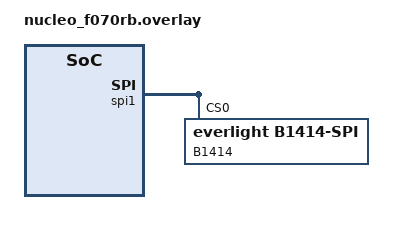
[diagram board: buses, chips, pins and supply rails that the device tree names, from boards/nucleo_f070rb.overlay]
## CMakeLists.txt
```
# SPDX-License-Identifier: Apache-2.0

cmake_minimum_required(VERSION 3.13.1)

find_package(Zephyr REQUIRED HINTS $ENV{ZEPHYR_BASE})
project(led_b1414)

FILE(GLOB app_sources src/*.c)
target_sources(app PRIVATE ${app_sources})
```

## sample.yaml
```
sample:
  description: Demonstration of the B1414 IC LED driver
  name: B1414 IC sample
tests:
  sample.drivers.led.b1414:
    platform_allow: nucleo_f070rb
    tags: LED
```

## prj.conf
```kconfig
CONFIG_SPI=y
CONFIG_LED_STRIP=y
CONFIG_LED_STRIP_LOG_LEVEL_DBG=y
CONFIG_B1414_STRIP=y
CONFIG_B1414_STRIP_SPI=y
CONFIG_LOG=y
```

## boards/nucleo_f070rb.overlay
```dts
/*
 * Copyright (c) 2019, Nordic Semiconductor ASA
 *
 * SPDX-License-Identifier: Apache-2.0
 */

#include "../f070rb-bindings.h"

&spi1 { /* MOSI on PA7 */
	led_strip: b1414@0 {
		compatible = "everlight,b1414-spi";
		label = "B1414";

		/* SPI */
		reg = <0>; /* ignored, but necessary for SPI bindings */
		spi-max-frequency = <SPI_FREQ>;

		/* B1414 */
		chain-length = <18>; /* arbitrary; change at will */
		spi-one-frame = <ONE_FRAME>;
		spi-zero-frame = <ZERO_FRAME>;

		status = "okay";
	};
};

/ {
	aliases {
		led-strip = &led_strip;
	};
};
```

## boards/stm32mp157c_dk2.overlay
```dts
/*
 * Copyright (c) 2019, Nordic Semiconductor ASA
 *
 * SPDX-License-Identifier: Apache-2.0
 */

#include "../stm32mp157-bindings.h"

&spi4 { /* MOSI on ? */
	led_strip: b1414@0 {
		compatible = "everlight,b1414-spi";
		label = "B1414";

		/* SPI */
		reg = <0>; /* ignored, but necessary for SPI bindings */
		spi-max-frequency = <SPI_FREQ>;

		/* B1414 */
		chain-length = <18>; /* arbitrary; change at will */
		spi-one-frame = <ONE_FRAME>;
		spi-zero-frame = <ZERO_FRAME>;

		status = "okay";
	};
};

/ {
	aliases {
		led-strip = &led_strip;
	};
};
```

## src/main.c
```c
/*
 * Copyright (c) 2017 Linaro Limited
 * Copyright (c) 2018 Intel Corporation
 *
 * SPDX-License-Identifier: Apache-2.0
 */

#include <errno.h>
#include <string.h>

#define LOG_LEVEL 4
#include <logging/log.h>
LOG_MODULE_REGISTER(main);

#include <zephyr.h>
#include <drivers/led_strip.h>
#include <device.h>
#include <drivers/spi.h>
#include <sys/util.h>

#define STRIP_LABEL		DT_LABEL(DT_ALIAS(led_strip))
#define STRIP_NUM_PIXELS	DT_PROP(DT_ALIAS(led_strip), chain_length)

#define DELAY_TIME K_MSEC(50)

#define RGB(_r, _g, _b) { .r = (_r), .g = (_g), .b = (_b) }

static const struct led_rgb colors[] = {
	RGB(0x0f, 0x00, 0x00), /* red */
	RGB(0x00, 0x0f, 0x00), /* green */
	RGB(0x00, 0x00, 0x0f), /* blue */
};

struct led_rgb pixels[STRIP_NUM_PIXELS];

void main(void)
{
	const struct device *strip;
	size_t cursor = 0, color = 0;
	int rc;

	strip = device_get_binding(STRIP_LABEL);
	if (strip) {
		LOG_INF("Found LED strip device %s", STRIP_LABEL);
	} else {
		LOG_ERR("LED strip device %s not found", STRIP_LABEL);
		return;
	}

	LOG_INF("Displaying pattern on strip (%d LEDs)", STRIP_NUM_PIXELS);
	while (1) {
		memset(&pixels, 0x00, sizeof(pixels));
		memcpy(&pixels[cursor], &colors[color], sizeof(struct led_rgb));
		rc = led_strip_update_rgb(strip, pixels, STRIP_NUM_PIXELS);

		if (rc) {
			LOG_ERR("couldn't update strip: %d", rc);
		}

		cursor++;
		if (cursor >= STRIP_NUM_PIXELS) {
			cursor = 0;
			color++;
			if (color == ARRAY_SIZE(colors)) {
				color = 0;
			}
		}

		k_sleep(DELAY_TIME);
	}
}
```
